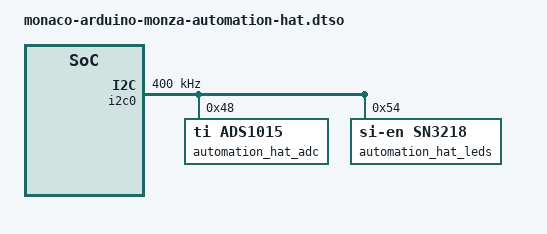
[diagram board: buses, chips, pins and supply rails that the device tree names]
// SPDX-License-Identifier: BSD-3-Clause
/*
 * Copyright (c) Qualcomm Technologies, Inc. and/or its subsidiaries.
 *
 * Device tree overlay for the Pimoroni Automation HAT connected to the
 * Monza 40-pin JHAT connector.
 */

/dts-v1/;
/plugin/;

#include <dt-bindings/gpio/gpio.h>

&i2c0 {
	clock-frequency = <400000>;
	#address-cells = <1>;
	#size-cells = <0>;

	automation_hat_adc: adc@48 {
		compatible = "ti,ads1015";
		reg = <0x48>;
		#address-cells = <1>;
		#size-cells = <0>;

		channel@4 {
			reg = <4>;
			ti,gain = <1>;
		};

		channel@5 {
			reg = <5>;
			ti,gain = <1>;
		};

		channel@6 {
			reg = <6>;
			ti,gain = <1>;
		};
	};

	automation_hat_leds: led-controller@54 {
		compatible = "si-en,sn3218";
		reg = <0x54>;
		#address-cells = <1>;
		#size-cells = <0>;

		led@16 {
			reg = <16>;
			label = "automation-hat:red:warn";
		};

		led@17 {
			reg = <17>;
			label = "automation-hat:green:comms";
		};

		led@18 {
			reg = <18>;
			label = "automation-hat:blue:power";
		};
	};
};
